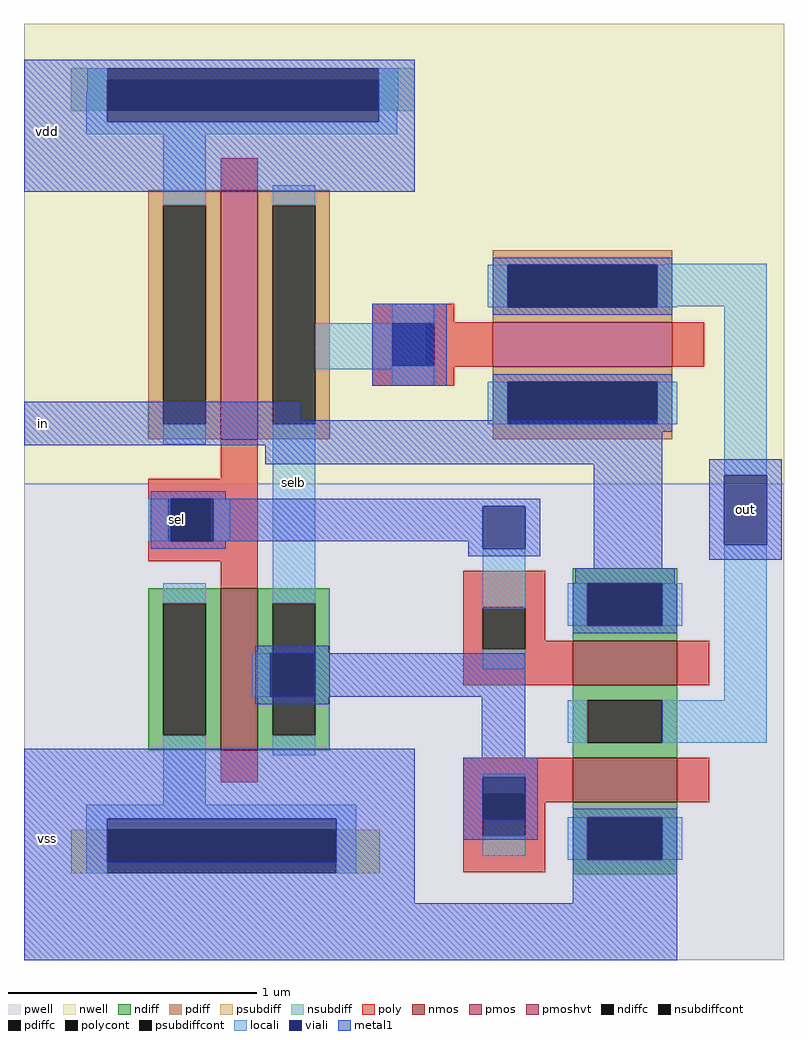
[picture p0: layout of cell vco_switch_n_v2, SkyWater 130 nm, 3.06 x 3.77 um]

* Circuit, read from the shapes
.subckt vco_switch_n_v2 in sel out vss vdd
XM1 selb sel vss vss sky130_fd_pr__nfet_01v8 w=0.65 l=0.15
XM2 out selb vss vss sky130_fd_pr__nfet_01v8 w=0.42 l=0.18
XM3 in sel out vss sky130_fd_pr__nfet_01v8 w=0.42 l=0.18
XM4 selb sel vdd vdd sky130_fd_pr__pfet_01v8_hvt w=1 l=0.15
XM5 out selb in vdd sky130_fd_pr__pfet_01v8 w=0.72 l=0.18
.ends

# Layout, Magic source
magic
tech sky130A
magscale 1 2
<< nwell >>
rect 376 952 987 1215
rect 376 845 932 952
rect 934 845 987 952
<< pwell >>
rect 376 462 987 845
<< psubdiff >>
rect 414 532 443 567
rect 627 532 662 567
<< nsubdiff >>
rect 414 1145 443 1179
rect 661 1145 690 1179
<< psubdiffcont >>
rect 443 532 627 567
<< nsubdiffcont >>
rect 443 1145 661 1179
<< locali >>
rect 427 1160 443 1179
rect 426 1136 443 1160
rect 661 1145 677 1179
rect 661 1136 676 1145
rect 426 1126 676 1136
rect 488 1085 522 1126
rect 891 988 973 1022
rect 610 937 698 974
rect 486 799 494 833
rect 576 765 610 877
rect 939 852 973 988
rect 745 745 779 793
rect 560 674 574 709
rect 939 671 973 796
rect 899 637 973 671
rect 488 587 522 627
rect 426 576 643 587
rect 426 532 443 576
rect 627 532 643 576
rect 813 543 829 577
rect 889 543 905 577
<< viali >>
rect 443 1145 661 1170
rect 443 1136 661 1145
rect 494 799 528 833
rect 745 793 779 827
rect 939 796 973 852
rect 829 731 889 765
rect 574 674 609 709
rect 443 567 627 576
rect 443 541 627 567
rect 745 575 779 609
rect 829 543 889 577
<< metal1 >>
rect 376 1170 690 1186
rect 376 1136 443 1170
rect 661 1136 690 1170
rect 376 1080 690 1136
rect 656 924 716 990
rect 376 896 598 911
rect 376 876 889 896
rect 570 861 889 876
rect 478 833 538 839
rect 478 799 494 833
rect 528 827 791 833
rect 528 799 745 827
rect 478 793 538 799
rect 733 793 745 799
rect 779 793 791 827
rect 733 787 791 793
rect 834 777 889 861
rect 927 852 985 865
rect 927 796 939 852
rect 973 796 985 852
rect 927 784 985 796
rect 819 765 899 777
rect 817 731 829 765
rect 889 764 899 765
rect 889 731 901 764
rect 817 725 901 731
rect 562 709 621 715
rect 562 674 574 709
rect 609 674 779 709
rect 562 668 621 674
rect 376 576 690 632
rect 744 625 779 674
rect 376 541 443 576
rect 627 541 690 576
rect 729 609 789 625
rect 729 575 745 609
rect 779 575 789 609
rect 729 559 789 575
rect 817 577 901 584
rect 376 508 690 541
rect 817 543 829 577
rect 889 543 901 577
rect 817 508 901 543
rect 376 462 901 508
use sky130_fd_pr__pfet_01v8_ACAZ2B  XM25
transform 0 -1 789 1 0 957
box -112 -170 112 136
use sky130_fd_pr__nfet_01v8_HGTGXE_v2  sky130_fd_pr__nfet_01v8_HGTGXE_v2_0
transform 0 -1 828 1 0 701
box -76 -99 76 99
use sky130_fd_pr__nfet_01v8_HGTGXE_v2  sky130_fd_pr__nfet_01v8_HGTGXE_v2_1
transform 0 -1 828 -1 0 607
box -76 -99 76 99
use sky130_fd_pr__nfet_01v8_M34CP3  sky130_fd_pr__nfet_01v8_M34CP3_0
transform 1 0 549 0 1 727
box -73 -122 73 122
use sky130_fd_pr__pfet_01v8_hvt_N83GLL  sky130_fd_pr__pfet_01v8_hvt_N83GLL_0
transform 1 0 549 0 1 981
box -109 -136 109 162
<< labels >>
rlabel metal1 376 876 407 911 1 in
port 0 n
rlabel metal1 376 488 414 632 1 vss
port 3 n
rlabel metal1 376 1080 414 1176 1 vdd
port 4 n
rlabel metal1 927 784 985 865 1 out
port 2 n
rlabel metal1 478 793 520 839 1 sel
port 1 n
rlabel locali 578 834 608 858 1 selb
<< end >>

# cell sky130_fd_pr__pfet_01v8_ACAZ2B: kit device sky130_fd_pr__pfet_01v8, w 0.72 l 0.18 m 1 nf 1 diffcov 100 polycov 100 guard 0 glc 0 grc 0 gtc 0 gbc 0 tbcov 100 rlcov 100 topc 1 botc 0 poverlap 0 doverlap 1 lmin 0.15 wmin 0.42 compatible {sky130_fd_pr__pfet_01v8 sky130_fd_pr__pfet_01v8_lvt sky130_fd_pr__pfet_01v8_hvt sky130_fd_pr__pfet_g5v0d10v5} full_metal 0 viasrc 100 viadrn 100 viagate 100 viagb 0 viagr 0 viagl 0 viagt 0

# cell sky130_fd_pr__nfet_01v8_HGTGXE_v2: kit device sky130_fd_pr__nfet_01v8, w 0.42 l 0.18 m 1 nf 1 diffcov 100 polycov 100 guard 0 glc 0 grc 0 gtc 0 gbc 0 tbcov 100 rlcov 100 topc 1 botc 0 poverlap 0 doverlap 1 lmin 0.15 wmin 0.42 compatible {sky130_fd_pr__nfet_01v8 sky130_fd_pr__nfet_01v8_lvt sky130_fd_bs_flash__special_sonosfet_star sky130_fd_pr__nfet_g5v0d10v5 sky130_fd_pr__nfet_05v0_nvt sky130_fd_pr__nfet_03v3_nvt} full_metal 0 viasrc 100 viadrn 100 viagate 100 viagb 0 viagr 0 viagl 0 viagt 0

# cell sky130_fd_pr__nfet_01v8_M34CP3: kit device sky130_fd_pr__nfet_01v8, w 0.650 l 0.150 m 1 nf 1 diffcov 100 polycov 100 guard 0 glc 0 grc 0 gtc 0 gbc 0 tbcov 100 rlcov 100 topc 1 botc 0 poverlap 0 doverlap 1 lmin 0.15 wmin 0.42 compatible {sky130_fd_pr__nfet_01v8 sky130_fd_pr__nfet_01v8_lvt sky130_fd_bs_flash__special_sonosfet_star sky130_fd_pr__nfet_g5v0d10v5 sky130_fd_pr__nfet_05v0_nvt sky130_fd_pr__nfet_03v3_nvt} full_metal 0 viasrc 0 viadrn 0 viagate 0 viagb 0 viagr 0 viagl 0 viagt 0

# cell sky130_fd_pr__pfet_01v8_hvt_N83GLL: kit device sky130_fd_pr__pfet_01v8_hvt, w 1 l 0.15 m 1 nf 1 diffcov 100 polycov 100 guard 0 glc 0 grc 0 gtc 0 gbc 0 tbcov 100 rlcov 100 topc 0 botc 0 poverlap 0 doverlap 1 lmin 0.15 wmin 0.42 compatible {sky130_fd_pr__pfet_01v8 sky130_fd_pr__pfet_01v8_lvt sky130_fd_pr__pfet_01v8_hvt sky130_fd_pr__pfet_g5v0d10v5} full_metal 0 viasrc 0 viadrn 0 viagate 0 viagb 0 viagr 0 viagl 0 viagt 0
